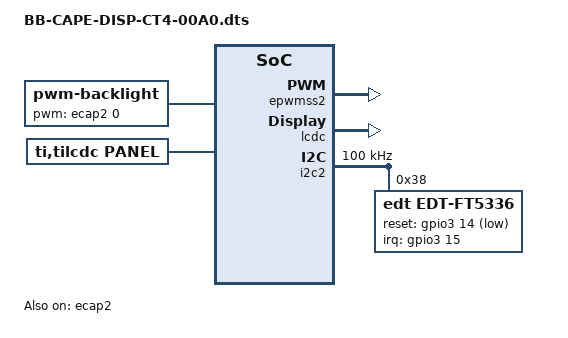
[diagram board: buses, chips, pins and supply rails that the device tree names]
/*
 * Copyright (C) 2012 Texas Instruments Incorporated - http://www.ti.com/
 *
 * This program is free software; you can redistribute it and/or modify
 * it under the terms of the GNU General Public License version 2 as
 * published by the Free Software Foundation.
 */

/dts-v1/;
/plugin/;

#include <dt-bindings/gpio/gpio.h>
#include <dt-bindings/pinctrl/am33xx.h>
#include <dt-bindings/board/am335x-bbw-bbb-base.h>

/ {
	/*
	 * Free up the pins used by the cape from the pinmux helpers.
	 */
	fragment@0 {
		target = <&ocp>;
		__overlay__ {
			P8_45_pinmux { status = "disabled"; };	/* lcd: lcd_data0 */
			P8_46_pinmux { status = "disabled"; };	/* lcd: lcd_data1 */
			P8_43_pinmux { status = "disabled"; };	/* lcd: lcd_data2 */
			P8_44_pinmux { status = "disabled"; };	/* lcd: lcd_data3 */
			P8_41_pinmux { status = "disabled"; };	/* lcd: lcd_data4 */
			P8_42_pinmux { status = "disabled"; };	/* lcd: lcd_data5 */
			P8_39_pinmux { status = "disabled"; };	/* lcd: lcd_data6 */
			P8_40_pinmux { status = "disabled"; };	/* lcd: lcd_data7 */
			P8_37_pinmux { status = "disabled"; };	/* lcd: lcd_data8 */
			P8_38_pinmux { status = "disabled"; };	/* lcd: lcd_data9 */
			P8_36_pinmux { status = "disabled"; };	/* lcd: lcd_data10 */
			P8_34_pinmux { status = "disabled"; };	/* lcd: lcd_data11 */
			P8_35_pinmux { status = "disabled"; };	/* lcd: lcd_data12 */
			P8_33_pinmux { status = "disabled"; };	/* lcd: lcd_data13 */
			P8_31_pinmux { status = "disabled"; };	/* lcd: lcd_data14 */
			P8_32_pinmux { status = "disabled"; };	/* lcd: lcd_data15 */

			P8_27_pinmux { status = "disabled"; };	/* lcd: lcd_vsync */
			P8_29_pinmux { status = "disabled"; };	/* lcd: lcd_hsync */
			P8_28_pinmux { status = "disabled"; };	/* lcd: lcd_pclk */
			P8_30_pinmux { status = "disabled"; };	/* lcd: lcd_ac_bias_en */

			P9_28_pinmux { status = "disabled"; };	/* pwm: eCAP2_in_PWM2_out */

			P9_29_pinmux { status = "disabled"; };	/* ft5336: gpio3_15 */
			P9_31_pinmux { status = "disabled"; };	/* ft5336: gpio3_14 */
		};
	};

	fragment@1 {
		target = <&am33xx_pinmux>;
		__overlay__ {

			bb_lcd_pwm_backlight_pins: pinmux_bb_lcd_pwm_backlight_pins {
				pinctrl-single,pins = <
					BONE_P9_28 (PIN_OUTPUT_PULLDOWN | MUX_MODE4) /* mcasp0_ahclkr.eCAP2_in_PWM2_out */
				>;
			};

			bb_lcd_lcd_pins: pinmux_bb_lcd_lcd_pins {
				pinctrl-single,pins = <
					BONE_P8_45 (PIN_OUTPUT | MUX_MODE0) /* lcd: lcd_data0.lcd_data0 */
					BONE_P8_46 (PIN_OUTPUT | MUX_MODE0) /* lcd: lcd_data1.lcd_data1 */
					BONE_P8_43 (PIN_OUTPUT | MUX_MODE0) /* lcd: lcd_data2.lcd_data2 */
					BONE_P8_44 (PIN_OUTPUT | MUX_MODE0) /* lcd: lcd_data3.lcd_data3 */
					BONE_P8_41 (PIN_OUTPUT | MUX_MODE0) /* lcd: lcd_data4.lcd_data4 */
					BONE_P8_42 (PIN_OUTPUT | MUX_MODE0) /* lcd: lcd_data5.lcd_data5 */
					BONE_P8_39 (PIN_OUTPUT | MUX_MODE0) /* lcd: lcd_data6.lcd_data6 */
					BONE_P8_40 (PIN_OUTPUT | MUX_MODE0) /* lcd: lcd_data7.lcd_data7 */
					BONE_P8_37 (PIN_OUTPUT | MUX_MODE0) /* lcd: lcd_data8.lcd_data8 */
					BONE_P8_38 (PIN_OUTPUT | MUX_MODE0) /* lcd: lcd_data9.lcd_data9 */
					BONE_P8_36 (PIN_OUTPUT | MUX_MODE0) /* lcd: lcd_data10.lcd_data10 */
					BONE_P8_34 (PIN_OUTPUT | MUX_MODE0) /* lcd: lcd_data11.lcd_data11 */
					BONE_P8_35 (PIN_OUTPUT | MUX_MODE0) /* lcd: lcd_data12.lcd_data12 */
					BONE_P8_33 (PIN_OUTPUT | MUX_MODE0) /* lcd: lcd_data13.lcd_data13 */
					BONE_P8_31 (PIN_OUTPUT | MUX_MODE0) /* lcd: lcd_data14.lcd_data14 */
					BONE_P8_32 (PIN_OUTPUT | MUX_MODE0) /* lcd: lcd_data15.lcd_data15 */

					BONE_P8_27 (PIN_OUTPUT | MUX_MODE0) /* lcd: lcd_vsync.lcd_vsync */
					BONE_P8_29 (PIN_OUTPUT | MUX_MODE0) /* lcd: lcd_hsync.lcd_hsync */
					BONE_P8_28 (PIN_OUTPUT | MUX_MODE0) /* lcd: lcd_pclk.lcd_pclk */
					BONE_P8_30 (PIN_OUTPUT | MUX_MODE0) /* lcd: lcd_ac_bias_en.lcd_ac_bias_en */
				>;
			};

			edt_ft5336_ts_pins: pinmux_edt_ft5336_ts_pins {
				pinctrl-single,pins = <
					BONE_P9_29 (PIN_INPUT_PULLDOWN | MUX_MODE7) /* mcasp0_fsx.gpio3_15 */
					BONE_P9_31 (PIN_INPUT_PULLDOWN | MUX_MODE7) /* mcasp0_aclkx.gpio3_14 */
				>;
			};
		};
	};

	fragment@2 {
		target = <&epwmss2>;
		__overlay__ {
			status = "okay";
		};
	};

	fragment@3 {
		target = <&ecap2>;
		__overlay__ {
			pinctrl-names = "default";
			pinctrl-0 = <&bb_lcd_pwm_backlight_pins>;
			status = "okay";
		};
	};

	fragment@4 {
		target = <&lcdc>;
		__overlay__ {
			status = "okay";
		};
	};

	fragment@5 {
		target = <&i2c2>;
		__overlay__ {
			status = "okay";

			/* this is the configuration part */
			clock-frequency = <100000>;

			#address-cells = <1>;
			#size-cells = <0>;

			edt-ft5336@38 {
				status = "okay";
				compatible = "edt,edt-ft5336", "edt,edt-ft5306", "edt,edt-ft5x06";
				pinctrl-names = "default";
				pinctrl-0 = <&edt_ft5336_ts_pins>;

				reg = <0x38>;
				interrupt-parent = <&gpio3>;
				interrupts = <15 0>;
				reset-gpios = <&gpio3 14 GPIO_ACTIVE_LOW>;

				touchscreen-size-x = <272>;
				touchscreen-size-y = <480>;
				touchscreen-swapped-x-y;
			};
		};
	};

	fragment@6 {
		target-path="/";
		__overlay__ {

			/* avoid stupid warning */
			#address-cells = <1>;
			#size-cells = <1>;

			backlight {
				status = "okay";
				compatible = "pwm-backlight";
				pwms = <&ecap2 0 500000 0>;
				brightness-levels = <
					0  1  2  3  4  5  6  7  8  9
					10 11 12 13 14 15 16 17 18 19
					20 21 22 23 24 25 26 27 28 29
					30 31 32 33 34 35 36 37 38 39
					40 41 42 43 44 45 46 47 48 49
					50 51 52 53 54 55 56 57 58 59
					60 61 62 63 64 65 66 67 68 69
					70 71 72 73 74 75 76 77 78 79
					80 81 82 83 84 85 86 87 88 89
					90 91 92 93 94 95 96 97 98 99
					100
				>;
				default-brightness-level = <50>;
			};

			panel {
				status = "okay";
				compatible = "ti,tilcdc,panel";
				pinctrl-names = "default";
				pinctrl-0 = <&bb_lcd_lcd_pins>;
				panel-info {
					ac-bias           = <255>;
					ac-bias-intrpt    = <0>;
					dma-burst-sz      = <16>;
					bpp               = <16>;
					fdd               = <0x80>;
					tft-alt-mode      = <0>;
					stn-565-mode      = <0>;
					mono-8bit-mode    = <0>;
					sync-edge         = <0>;
					sync-ctrl         = <1>;
					raster-order      = <0>;
					fifo-th           = <0>;
				};
				/* ILI6480 */
				display-timings {
					native-mode = <&timing0>;
					timing0: 480x272 {
						clock-frequency = <9000000>;
						hactive = <480>;
						vactive = <272>;
						hfront-porch = <5>;
						hback-porch = <40>;
						hsync-len = <1>;
						vback-porch = <8>;
						vfront-porch = <8>;
						vsync-len = <1>;
						hsync-active = <0>;
						vsync-active  = <0>;
					};
				};
			};
		};
	};
};
